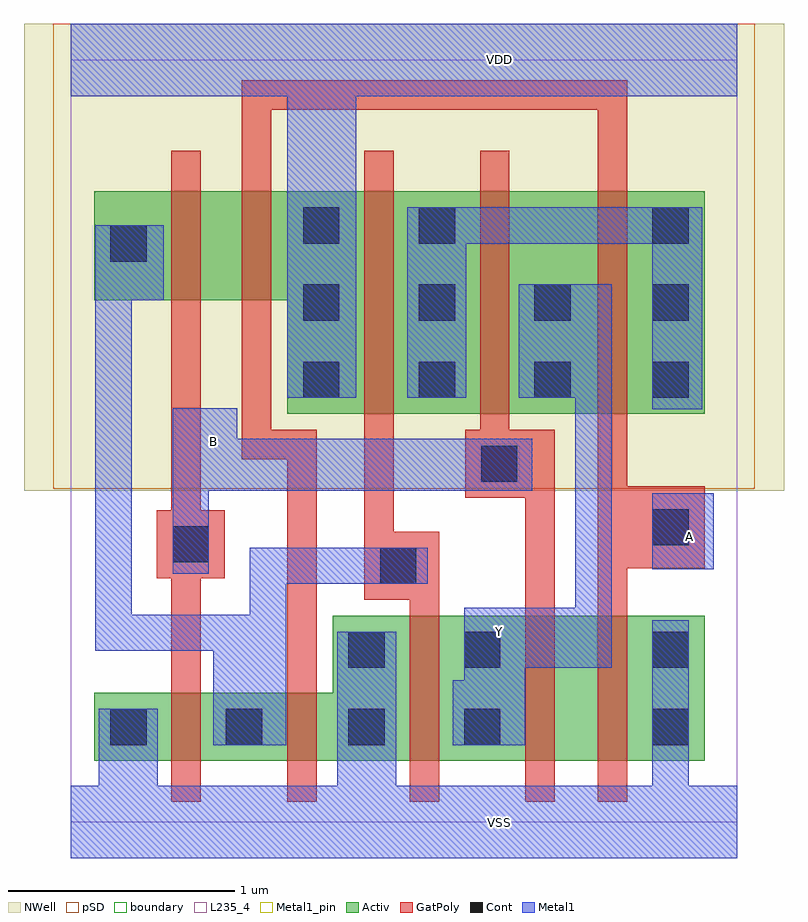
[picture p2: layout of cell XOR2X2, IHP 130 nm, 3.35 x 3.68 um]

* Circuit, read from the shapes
.subckt XOR2X2 A B VDD VSS Y
XM1 n1 B VSS VSUBS sg13_lv_nmos w=0.3u l=0.13u
XM2 VSS A n1 VSUBS sg13_lv_nmos w=0.3u l=0.13u
XM3 Y n1 VSS VSUBS sg13_lv_nmos w=0.64u l=0.13u
XM4 n2 B Y VSUBS sg13_lv_nmos w=0.64u l=0.13u
XM5 VSS A n2 VSUBS sg13_lv_nmos w=0.64u l=0.13u
XM6 n3 B n1 n4 sg13_lv_pmos w=0.48u l=0.13u
XM7 VDD A n3 n4 sg13_lv_pmos w=0.48u l=0.13u
XM8 n5 n1 VDD n4 sg13_lv_pmos w=0.98u l=0.13u
XM9 Y B n5 n4 sg13_lv_pmos w=0.98u l=0.13u
XM10 n5 A Y n4 sg13_lv_pmos w=0.98u l=0.13u
.ends

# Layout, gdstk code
import gdstk
lib = gdstk.Library(unit=1e-6, precision=1e-09)
def R(c, l, rs):  # rectangles x0, y0, x1, y1
    for r in rs: c.add(gdstk.rectangle(r[:2], r[2:], *l))
def A(c, l, x, y, w, h, nx, ny, dx, dy):  # array of equal rectangles
    R(c, l, [(x+i*dx, y+j*dy, x+i*dx+w, y+j*dy+h) for i in range(nx) for j in range(ny)])
def P(c, l, *ps):  # polygons
    for p in ps: c.add(gdstk.Polygon(p, *l))
Activ = (1, 0)
GatPoly = (5, 0)
Cont = (6, 0)
Metal1 = (8, 0)
Metal1_pin = (8, 2)
pSD = (14, 0)
NWell = (31, 0)
boundary = (189, 4)
L235_4 = (235, 4)

xor2x2 = lib.new_cell('XOR2X2')
P(xor2x2, Activ, [(0.105,0.27),(0.105,0.57),(1.155,0.57),(1.155,0.91),(2.795,0.91),(2.795,0.27)],
  [(0.955,1.8),(0.955,2.3),(0.105,2.3),(0.105,2.78),(2.795,2.78),(2.795,1.8)])
P(xor2x2, GatPoly, [(2.005,0.09),(2.005,1.43),(1.74,1.43),(1.74,1.73),(1.805,1.73),(1.805,2.96),(1.935,2.96),(1.935,1.73),(2.135,1.73),(2.135,0.09)],
  [(0.445,0.09),(0.445,1.075),(0.38,1.075),(0.38,1.375),(0.445,1.375),(0.445,2.96),(0.575,2.96),(0.575,1.375),(0.68,1.375),(0.68,1.075),(0.575,1.075),(0.575,0.09)],
  [(0.955,0.09),(0.955,1.6),(0.755,1.6),(0.755,3.27),(2.455,3.27),(2.455,1.48),(2.795,1.48),(2.795,1.12),(2.455,1.12),(2.455,0.09),(2.325,0.09),(2.325,3.14),(0.885,3.14),(0.885,1.73),(1.085,1.73),(1.085,0.09)],
  [(1.495,0.09),(1.495,0.98),(1.295,0.98),(1.295,2.96),(1.425,2.96),(1.425,1.28),(1.625,1.28),(1.625,0.09)])
A(xor2x2, Cont, 1.025, 1.87, 0.16, 0.16, 3, 2, 0.51, 0.34)
A(xor2x2, Cont, 2.565, 1.87, 0.16, 0.16, 1, 3, 0, 0.34)
R(xor2x2, Cont, [(0.175,0.34,0.335,0.5), (0.685,0.34,0.845,0.5), (1.225,0.34,1.385,0.5), (1.735,0.34,1.895,0.5), (2.565,0.34,2.725,0.5), (1.225,0.68,1.385,0.84), (1.735,0.68,1.895,0.84), (2.565,0.68,2.725,0.84), (1.365,1.05,1.525,1.21), (0.45,1.145,0.61,1.305), (2.565,1.22,2.725,1.38), (1.81,1.5,1.97,1.66), (0.175,2.47,0.335,2.63), (1.025,2.55,1.185,2.71), (1.535,2.55,1.695,2.71)])
R(xor2x2, Metal1, [(2.565,1.115,2.835,1.45)])
P(xor2x2, Metal1, [(0,-0.16),(0,0.16),(0.125,0.16),(0.125,0.5),(0.385,0.5),(0.385,0.16),(1.175,0.16),(1.175,0.84),(1.435,0.84),(1.435,0.16),(2.565,0.16),(2.565,0.89),(2.725,0.89),(2.725,0.16),(2.94,0.16),(2.94,-0.16)],
  [(1.685,0.34),(1.685,0.625),(1.735,0.625),(1.735,0.945),(2.225,0.945),(2.225,1.87),(1.975,1.87),(1.975,2.37),(2.385,2.37),(2.385,0.68),(2.005,0.68),(2.005,0.34)],
  [(0.955,1.87),(0.955,3.2),(0,3.2),(0,3.52),(2.94,3.52),(2.94,3.2),(1.26,3.2),(1.26,1.87)],
  [(0.45,1.095),(0.45,1.825),(0.735,1.825),(0.735,1.69),(2.035,1.69),(2.035,1.46),(0.61,1.46),(0.61,1.095)],
  [(2.565,1.82),(2.565,2.55),(1.745,2.55),(1.745,1.87),(1.485,1.87),(1.485,2.71),(2.785,2.71),(2.785,1.82)],
  [(0.63,0.34),(0.63,0.755),(0.11,0.755),(0.11,2.63),(0.41,2.63),(0.41,2.3),(0.27,2.3),(0.27,0.915),(0.79,0.915),(0.79,1.21),(1.575,1.21),(1.575,1.05),(0.95,1.05),(0.95,0.34)])
R(xor2x2, Metal1_pin, [(2.565,1.115,2.835,1.45)])
P(xor2x2, Metal1_pin, [(0,-0.16),(0,0.16),(0.125,0.16),(0.125,0.5),(0.385,0.5),(0.385,0.16),(1.175,0.16),(1.175,0.84),(1.435,0.84),(1.435,0.16),(2.565,0.16),(2.565,0.89),(2.725,0.89),(2.725,0.16),(2.94,0.16),(2.94,-0.16)],
  [(1.685,0.34),(1.685,0.625),(1.735,0.625),(1.735,0.945),(2.225,0.945),(2.225,1.87),(1.975,1.87),(1.975,2.37),(2.385,2.37),(2.385,0.68),(2.005,0.68),(2.005,0.34)],
  [(0.45,1.095),(0.45,1.825),(0.735,1.825),(0.735,1.69),(2.035,1.69),(2.035,1.46),(0.61,1.46),(0.61,1.095)],
  [(0.955,1.87),(0.955,3.2),(0,3.2),(0,3.52),(2.94,3.52),(2.94,3.2),(1.26,3.2),(1.26,1.87)])
R(xor2x2, pSD, [(-0.075,1.47,3.015,3.52)])
R(xor2x2, NWell, [(-0.205,1.46,3.145,3.52)])
R(xor2x2, boundary, [(0,0,2.94,3.36)])
R(xor2x2, L235_4, [(0,0,2.94,3.36)])
xor2x2.add(gdstk.Label('VSS', (1.89,0), layer=8, texttype=25))
xor2x2.add(gdstk.Label('VDD', (1.89,3.36), layer=8, texttype=25))
xor2x2.add(gdstk.Label('B', (0.63,1.68), layer=8, texttype=25))
xor2x2.add(gdstk.Label('A', (2.73,1.26), layer=8, texttype=25))
xor2x2.add(gdstk.Label('Y', (1.89,0.84), layer=8, texttype=25))

lib.write_gds('XOR2X2.gds')
